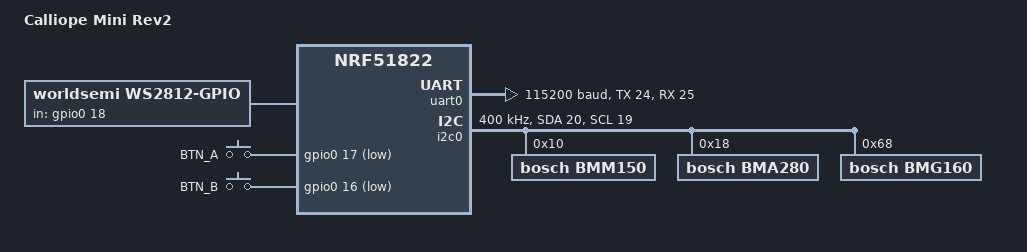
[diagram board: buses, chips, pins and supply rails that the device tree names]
/*
 * Copyright (c) 2017 Linaro Limited
 *
 * SPDX-License-Identifier: Apache-2.0
 */

/dts-v1/;
#include <nordic/nrf51822_qfaa.dtsi>
#include <dt-bindings/gpio/gpio.h>

/ {
	model = "Calliope Mini Rev2";
	compatible = "bbc,microbit";

	aliases {
		sw0 = &buttonA;
		sw1 = &buttonB;
		led-strip = &led_strip;
	};

	chosen {
		zephyr,console = &uart0;
		zephyr,shell-uart = &uart0;
		zephyr,bt-mon-uart = &uart0;
		zephyr,bt-c2h-uart = &uart0;
		zephyr,sram = &sram0;
		zephyr,flash = &flash0;
		zephyr,code-partition = &slot0_partition;
	};

	led_strip: ws2812 {
		compatible = "worldsemi,ws2812-gpio";
		label = "WS2812";

		chain-length = <1>;
		in-gpios = <&gpio0 18 0>;
	};

	gpio_keys {
		compatible = "gpio-keys";
		buttonA: button_0 {
			label = "BTN_A";
			gpios = <&gpio0 17 GPIO_ACTIVE_LOW>;
		};

		buttonB: button_1 {
			label = "BTN_B";
			gpios = <&gpio0 16 GPIO_ACTIVE_LOW>;
		};
	};

};

&gpiote {
	status = "okay";
};

&gpio0 {
	status = "okay";
};

&uart0 {
	status = "okay";
	current-speed = <115200>;
	tx-pin = <24>;
	rx-pin = <25>;
};

&i2c0 {
	status = "okay";
	clock-frequency = <I2C_BITRATE_FAST>;
	sda-pin = <20>;
	scl-pin = <19>;

	bmm150: bmm150@10 {
		compatible = "bosch,bmm150";
		reg = <0x10>;
		label = "BMM150";
	};

	/*
	bma280: bma280@18 {
    	compatible = "bosch,bma280";
    	reg = <0x18>;
    	label = "BMA280";
  	};
	*/

	bma280: bma280@18 {
    	label = "bma280";
    	compatible = "bosch,bma280";
    	#address-cells = <1>;
    	#size-cells = <1>;
    	reg = <0x18>;
    	status = "okay";
    	is-bmc150;
  	};

	bmg160: bmg160@68 {
		compatible = "bosch,bmg160";
		reg = <0x68>;
		label = "BMG160";
	};

};

&flash0 {
	/*
	 * For more information, see:
	 * https://docs.zephyrproject.org/latest/guides/dts/legacy-macros.html#legacy-flash-partitions
	 */
	partitions {
		compatible = "fixed-partitions";
		#address-cells = <1>;
		#size-cells = <1>;

		boot_partition: partition@0 {
			label = "mcuboot";
			reg = <0x00000000 0x8000>;
		};
		slot0_partition: partition@8000 {
			label = "image-0";
			reg = <0x00008000 0x1a000>;
		};
		slot1_partition: partition@22000 {
			label = "image-1";
			reg = <0x00022000 0x1a000>;
		};
		scratch_partition: partition@3c000 {
			label = "image-scratch";
			reg = <0x0003c000 0x2000>;
		};
		storage_partition: partition@3e000 {
			label = "storage";
			reg = <0x0003e000 0x00002000>;
		};
	};
};
